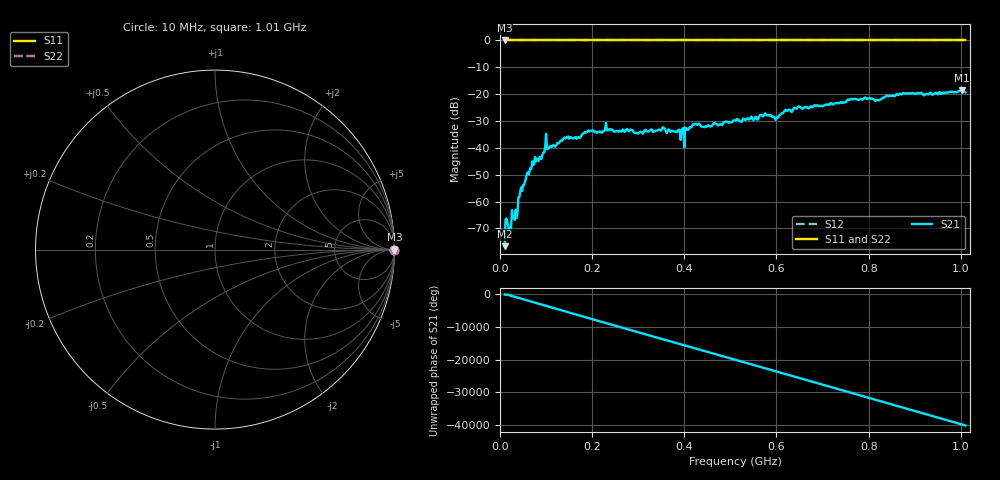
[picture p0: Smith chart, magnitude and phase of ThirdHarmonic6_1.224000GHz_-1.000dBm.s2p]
! 8/16/2025 12:52:18 PM
! C:\ANRITSUVNA\TEMP\TEMP.S2P
! CHANNEL.1
! TR.MEASUREMENT
! RAW.DATA
! RF.CORRECTION.OFF
! AVERAGING.OFF
! IF.BANDWIDTH: 5KHZ
! SWEEPTYPE:  FREQ.SWEEP(Linear)
! Reference Plane Port Info
! PORT:  PORT1  PORT2
! DISTANCE:  0  m  0  m
! TIME:  0  s  0  s
! PHASE.OFFSET:  0  deg.  0  deg.
! LOSS:  0  dB  0  dB
! REF.LOSS:  0  dB  0  dB
! REF.FREQ:  0  Hz  0  Hz
! Power Info
! POWER:  -20  dBm  -20  dBm
! EFF.POWER:  -20  dBm  -20  dBm
! SOURCE.ATTEN:  0  dB  0  dB
! TEST.ATTEN:  0  dB  0  dB
# GHZ S RI R 50.0
! FREQ.GHZ  S11RE  S11IM  S21RE  S21IM  S12RE  S12IM  S22RE  S22IM
!; PortSelection: Port_12
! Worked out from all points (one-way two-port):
!   501 points, 10 MHz to 1.01 GHz, reference 50 ohm
!   highest |S21| = -18.58 dB at 1.002 GHz (marker M1); lowest = -76.6 dB at 10 MHz (marker M2)
!   lowest |S11| = 0.0 dB at 10 MHz (marker M3)
!   |S11| at or under -10 dB: nowhere
!   |S22| runs from 0.0 to 0.0 dB; largest |S21 - S12| = 1.1
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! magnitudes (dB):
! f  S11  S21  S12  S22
! 10 MHz  0.0  -76.6  0.0  0.0
! 16 MHz  0.0  -67.7  0.0  0.0
! 20 MHz  0.0  -70.5  0.0  0.0
! 30 MHz  0.0  -65.7  0.0  0.0
! 34 MHz  0.0  -63.1  0.0  0.0
! 44 MHz  0.0  -56.1  0.0  0.0
! 62 MHz  0.0  -50.0  0.0  0.0
! 92 MHz  0.0  -42.6  0.0  0.0
! 96 MHz  0.0  -41.7  0.0  0.0
! 178 MHz  0.0  -35.1  0.0  0.0
! 234 MHz  0.0  -33.5  0.0  0.0
! 344 MHz  0.0  -33.2  0.0  0.0
! 396 MHz  0.0  -32.9  0.0  0.0
! 422 MHz  0.0  -31.3  0.0  0.0
! 510 MHz  0.0  -29.8  0.0  0.0
! 578 MHz  0.0  -27.8  0.0  0.0
! 600 MHz  0.0  -29.1  0.0  0.0
! 622 MHz  0.0  -26.2  0.0  0.0
! 678 MHz  0.0  -24.9  0.0  0.0
! 844 MHz  0.0  -20.8  0.0  0.0
! 1.002 GHz  0.0  -18.6  0.0  0.0
! 1.01 GHz  0.0  -19.3  0.0  0.0
